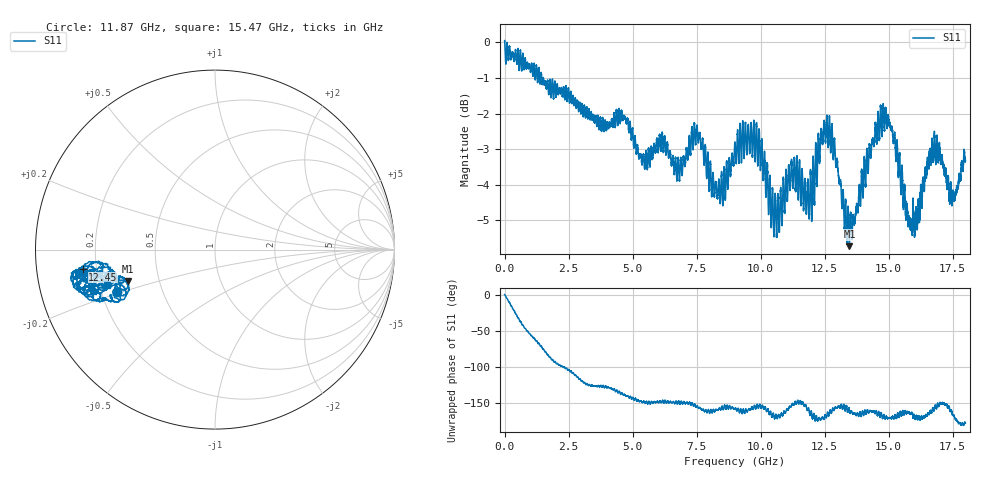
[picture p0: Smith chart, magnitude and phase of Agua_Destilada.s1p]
!Keysight Technologies N9917A: A.12.46
!Date: Wednesday, 08 November 2023 22:07:54
!TimeZone: (UTC-03:00) Buenos Aires!Model: N9917A
!Serial: MY56072049
!GPS Latitude:
!GPS Longitude:
!GPS TimeStamp: 0001-01-01 00:00:00Z
!GPS Seconds Since Last Read: 0
!CHECKSUM:1743996153
!Correction: S11(ON U)
!S1P File: Measurement: S11:
# Hz S RI R 50
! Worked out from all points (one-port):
!   10001 points, 30 kHz to 18 GHz, reference 50 ohm
!   lowest |S11| = -5.7 dB at 13.47 GHz (marker M1), VSWR 3.15, Z = 16.3 - j7.89 ohm
!   |S11| at or under -10 dB: nowhere
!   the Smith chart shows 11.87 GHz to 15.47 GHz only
!   S11 on the Smith chart (normalised r, x): 11.87 GHz: 0.26, -0.19; 12.45 GHz: 0.15, -0.07; 15.47 GHz: 0.23, -0.15
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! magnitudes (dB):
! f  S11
! 30 kHz  0.0
! 2.25 GHz  -1.5
! 3.841 GHz  -2.2
! 4.5 GHz  -2.2
! 5.411 GHz  -3.2
! 6.104 GHz  -3.0
! 6.75 GHz  -3.7
! 7.474 GHz  -2.8
! 8.363 GHz  -3.9
! 9 GHz  -2.8
! 9.36 GHz  -3.2
! 9.889 GHz  -3.5
! 10.57 GHz  -4.3
! 11.25 GHz  -3.9
! 11.87 GHz  -4.5
! 12.45 GHz  -2.6
! 12.74 GHz  -3.0
! 13.31 GHz  -4.4
! 13.47 GHz  -5.7
! 13.5 GHz  -5.0
! 14.74 GHz  -2.6
! 15.06 GHz  -2.3
! 15.47 GHz  -4.0
! 15.75 GHz  -4.9
! 16.07 GHz  -5.0
! 16.74 GHz  -3.3
! 17.54 GHz  -4.2
! 18 GHz  -3.3
